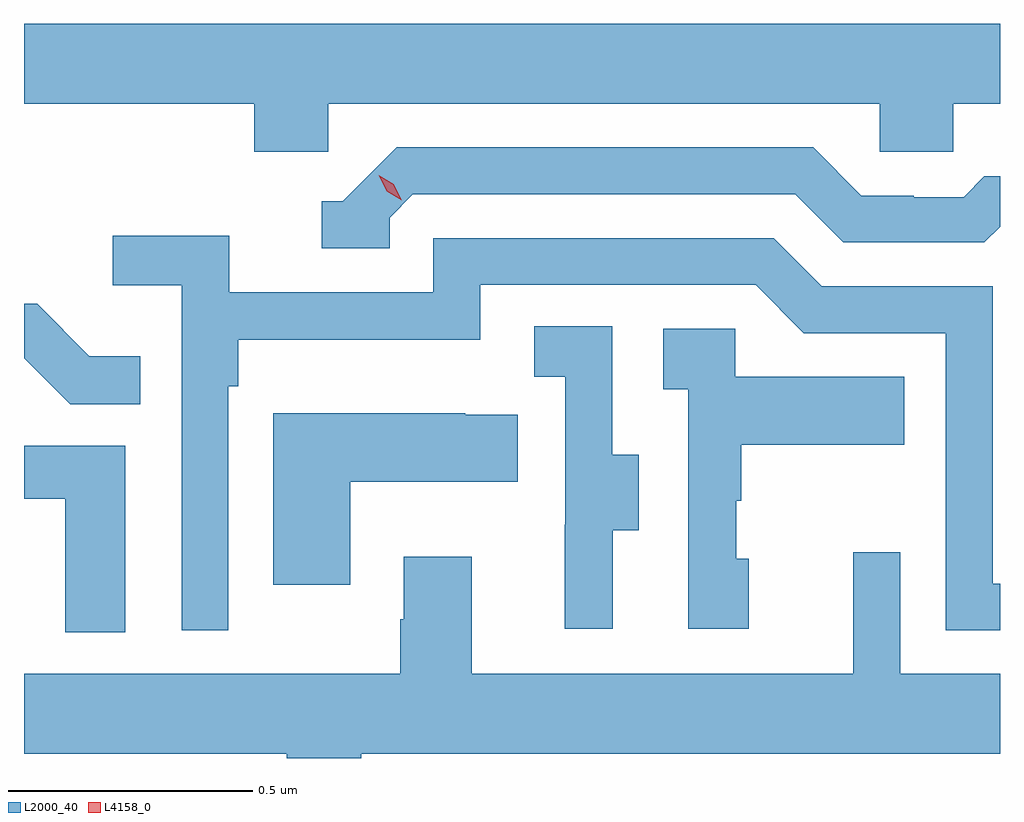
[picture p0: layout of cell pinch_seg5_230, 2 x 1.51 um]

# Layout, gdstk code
import gdstk
lib = gdstk.Library(unit=1e-6, precision=1e-09)
def P(c, l, *ps):  # polygons
    for p in ps: c.add(gdstk.Polygon(p, *l))
L2000_40 = (2000, 40)
L4158_0 = (4158, 0)

pinch_seg5_230 = lib.new_cell('pinch_seg5_230')
P(pinch_seg5_230, L2000_40, [(977.088,914.036),(978.219,914.036),(978.219,913.938),(978.369,913.938),(978.369,914.036),(978.465,914.036),(978.465,914.2),(976.465,914.2),(976.465,914.036),(976.937,914.036),(976.937,913.938),(977.088,913.938)],
  [(977.214,913.803),(977.262,913.851),(978.045,913.851),(978.144,913.752),(978.433,913.752),(978.465,913.784),(978.465,913.888),(978.433,913.888),(978.391,913.845),(978.288,913.845),(978.288,913.848),(978.181,913.848),(978.082,913.947),(977.229,913.947),(977.118,913.836),(977.075,913.836),(977.075,913.74),(977.214,913.74)],
  [(976.884,913.457),(976.904,913.457),(976.904,913.553),(977.4,913.553),(977.4,913.665),(977.964,913.665),(978.063,913.566),(978.354,913.566),(978.354,912.957),(978.465,912.957),(978.465,913.053),(978.45,913.053),(978.45,913.662),(978.1,913.662),(978.001,913.761),(977.304,913.761),(977.304,913.65),(976.886,913.65),(976.886,913.766),(976.647,913.766),(976.647,913.664),(976.788,913.664),(976.788,912.957),(976.884,912.957)],
  [(976.703,913.519),(976.599,913.519),(976.492,913.626),(976.465,913.626),(976.465,913.515),(976.56,913.42),(976.703,913.42)],
  [(977.671,913.162),(977.725,913.162),(977.725,913.317),(977.67,913.317),(977.67,913.58),(977.511,913.58),(977.511,913.477),(977.574,913.477),(977.574,913.173),(977.573,913.173),(977.573,912.96),(977.671,912.96)],
  [(977.95,913.104),(977.925,913.104),(977.925,913.223),(977.935,913.223),(977.935,913.337),(978.269,913.337),(978.269,913.477),(977.922,913.477),(977.922,913.575),(977.775,913.575),(977.775,913.451),(977.826,913.451),(977.826,912.96),(977.95,912.96)],
  [(977.134,913.262),(977.477,913.262),(977.477,913.399),(977.369,913.399),(977.369,913.402),(976.976,913.402),(976.976,913.05),(977.134,913.05)],
  [(976.672,913.335),(976.465,913.335),(976.465,913.227),(976.55,913.227),(976.55,912.953),(976.672,912.953)],
  [(977.156,912.704),(978.465,912.704),(978.465,912.868),(978.261,912.868),(978.261,913.117),(978.164,913.117),(978.164,912.868),(977.383,912.868),(977.383,913.108),(977.243,913.108),(977.243,912.98),(977.236,912.98),(977.236,912.868),(976.465,912.868),(976.465,912.704),(977.003,912.704),(977.003,912.695),(977.156,912.695)])
P(pinch_seg5_230, L4158_0, [(977.239,913.838),(977.208,913.857),(977.192,913.89),(977.192,913.89),(977.192,913.89),(977.223,913.871),(977.239,913.838),(977.239,913.838)])

lib.write_gds('pinch_seg5_230.gds')
